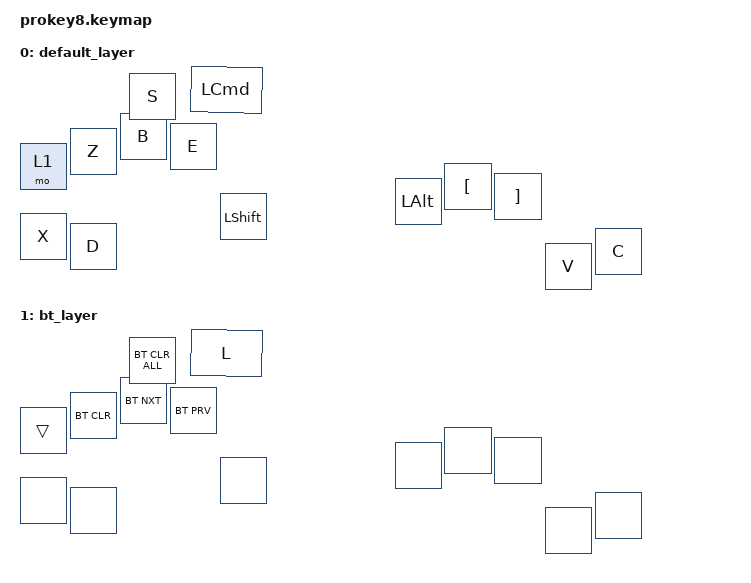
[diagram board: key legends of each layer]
/*
 * Copyright (c) 2021 Nick Winans
 *
 * SPDX-License-Identifier: MIT
 */

#include <behaviors.dtsi>
#include <dt-bindings/zmk/keys.h>
#include <dt-bindings/zmk/rgb.h>
#include <dt-bindings/zmk/bt.h>

/ {
    keymap {
        compatible = "zmk,keymap";

        default_layer {
        // ---------------------------
        // |  L  | SHIFT |  B  |  E  |
        // |  Z  |  OPT  |  [  |  ]  |
        // |  V  |   C   |  X  |  D  |
        // |     |       |  S  | CMD |
        // ---------------------------
        // https://www.reddit.com/r/ProCreate/comments/1it19t6/procreate_keyboard_shortcuts/
            
            bindings = <
                &mo 1  &kp Z &kp B     &kp E
                &kp LSHFT  &kp LALT  &kp LBKT  &kp RBKT
                &kp V  &kp C     &kp X     &kp D
                                &kp S     &kp LCMD
            >;
        };

        bt_layer { // Layer 1
            
        // ----------------------------------------------
        // |      &trans      |       B       |       C      |
        // |    &trans   |    &trans     |     &trans   |
            
            bindings = <
                &trans  &bt BT_CLR  &bt BT_NXT     &bt BT_PRV
                &none   &none       &none       &none
                &none   &none       &none       &none
                                    &bt BT_CLR_ALL       &kp L
            >;
        };
    };
};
